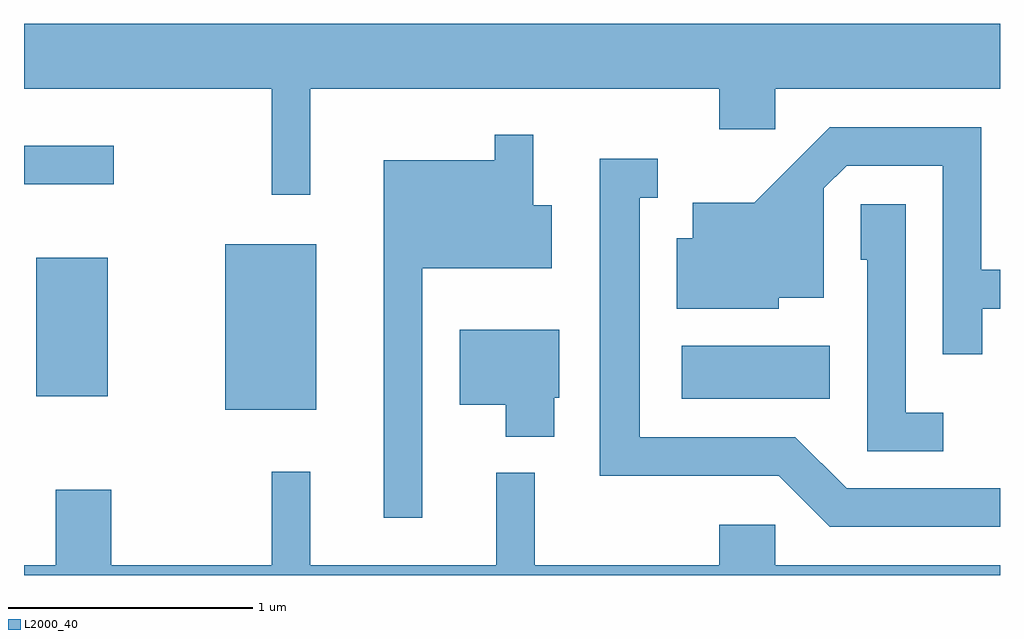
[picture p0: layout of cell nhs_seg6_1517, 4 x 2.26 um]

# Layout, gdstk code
import gdstk
lib = gdstk.Library(unit=1e-6, precision=1e-09)
def R(c, l, rs):  # rectangles x0, y0, x1, y1
    for r in rs: c.add(gdstk.rectangle(r[:2], r[2:], *l))
def P(c, l, *ps):  # polygons
    for p in ps: c.add(gdstk.Polygon(p, *l))
L2000_40 = (2000, 40)

nhs_seg6_1517 = lib.new_cell('nhs_seg6_1517')
R(nhs_seg6_1517, L2000_40, [(230.436,1650.841,230.809,1651.519), (232.306,1650.886,232.914,1651.104), (229.661,1650.896,229.954,1651.464), (229.611,1651.766,229.978,1651.924)])
P(nhs_seg6_1517, L2000_40, [(230.784,1652.156),(232.461,1652.156),(232.461,1651.991),(232.689,1651.991),(232.689,1652.156),(233.611,1652.156),(233.611,1652.424),(229.611,1652.424),(229.611,1652.156),(230.626,1652.156),(230.626,1651.723),(230.784,1651.723)],
  [(233.539,1651.256),(233.611,1651.256),(233.611,1651.414),(233.534,1651.414),(233.534,1651.999),(232.914,1651.999),(232.604,1651.689),(232.351,1651.689),(232.351,1651.544),(232.286,1651.544),(232.286,1651.256),(232.704,1651.256),(232.704,1651.301),(232.889,1651.301),(232.889,1651.749),(232.982,1651.841),(233.376,1651.841),(233.376,1651.068),(233.539,1651.068)],
  [(231.244,1651.421),(231.774,1651.421),(231.774,1651.679),(231.699,1651.679),(231.699,1651.968),(231.541,1651.968),(231.541,1651.864),(231.086,1651.864),(231.086,1650.398),(231.244,1650.398)],
  [(233.611,1650.519),(232.982,1650.519),(232.772,1650.729),(232.134,1650.729),(232.134,1651.711),(232.208,1651.711),(232.208,1651.869),(231.971,1651.869),(231.971,1650.571),(232.704,1650.571),(232.914,1650.361),(233.611,1650.361)],
  [(233.378,1650.829),(233.224,1650.829),(233.224,1651.684),(233.041,1651.684),(233.041,1651.456),(233.066,1651.456),(233.066,1650.671),(233.378,1650.671)],
  [(231.784,1650.891),(231.804,1650.891),(231.804,1651.169),(231.396,1651.169),(231.396,1650.861),(231.586,1650.861),(231.586,1650.731),(231.784,1650.731)],
  [(233.611,1650.204),(232.689,1650.204),(232.689,1650.369),(232.461,1650.369),(232.461,1650.204),(231.704,1650.204),(231.704,1650.583),(231.546,1650.583),(231.546,1650.204),(230.784,1650.204),(230.784,1650.588),(230.626,1650.588),(230.626,1650.204),(229.969,1650.204),(229.969,1650.514),(229.741,1650.514),(229.741,1650.204),(229.611,1650.204),(229.611,1650.162),(233.611,1650.162)])

lib.write_gds('nhs_seg6_1517.gds')
